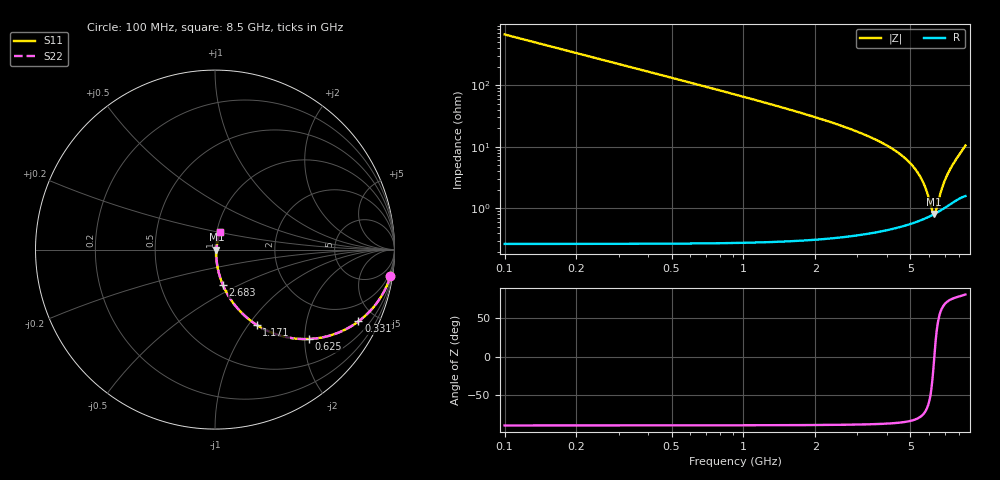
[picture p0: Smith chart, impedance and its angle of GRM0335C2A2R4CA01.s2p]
!Murata Part Number: GRM0335C2A2R4CA01
!These Parameters are Measured in Series Mode Connection
!Data Generated on Mar 30, 2021
!  o--ll--o
!Port1  Port2
!  o------o
!Operation Temp=25[degC], DC Bias Voltage=0[V]
!Freq. Start=100[MHz] Stop=9[GHz] 401[Steps]
# Hz S RI R 50
!Freq.(Hz) S11(Real) S11(Imag) S21(Real) S21(Imag) S12(Real) S12(Imag) S22(Real) S22(Imag)
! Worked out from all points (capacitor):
!   401 points, 100 MHz to 8.5 GHz, reference 50 ohm
!   read as one part in series: C = 2.4 pF near 142 MHz
!   lowest |Z| = 812 mohm at 6.295 GHz (marker M1)
!   series resonance near 6.3 GHz, so ESL is about 270 pH
!   S11 on the Smith chart (normalised r, x): 100 MHz: 1, -13; 331 MHz: 1.01, -4.00; 625 MHz: 1.01, -2.10; 1.171 GHz: 1.01, -1.10; 2.683 GHz: 1.01, -0.41; 8.5 GHz: 1.03, +0.21
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1e8  0.9777 -0.1475  0.0223 0.1475  0.0223 0.1475  0.9777 -0.1475
2.26e8  0.8955 -0.3054  0.1045 0.3054  0.1045 0.3054  0.8955 -0.3054
3.31e8  0.7994 -0.3997  0.2006 0.3997  0.2006 0.3997  0.7994 -0.3997
4.78e8  0.6555 -0.4742  0.3445 0.4742  0.3445 0.4742  0.6555 -0.4742
6.25e8  0.5251 -0.4981  0.4749 0.4981  0.4749 0.4981  0.5251 -0.4981
8.77e8  0.3563 -0.4771  0.6437 0.4771  0.6437 0.4771  0.3563 -0.4771
1.171e9  0.2327 -0.42  0.7673 0.42  0.7673 0.42  0.2327 -0.42
1.507e9  0.1502 -0.3538  0.8498 0.3538  0.8498 0.3538  0.1502 -0.3538
2.683e9  0.0441 -0.197  0.9559 0.197  0.9559 0.197  0.0441 -0.197
2.914e9  0.0359 -0.1764  0.9641 0.1764  0.9641 0.1764  0.0359 -0.1764
4.3e9  0.0123 -0.0862  0.9877 0.0862  0.9877 0.0862  0.0123 -0.0862
5.14e9  0.00798 -0.0469  0.992 0.0469  0.992 0.0469  0.00798 -0.0469
5.455e9  0.0074 -0.0336  0.9926 0.0336  0.9926 0.0336  0.0074 -0.0336
5.707e9  0.00727 -0.0233  0.9927 0.0233  0.9927 0.0233  0.00727 -0.0233
5.917e9  0.00738 -0.015  0.9926 0.015  0.9926 0.015  0.00738 -0.015
6.19e9  0.0078 -0.00427  0.9922 0.00427  0.9922 0.00427  0.0078 -0.00427
6.295e9  0.00805 -0.000189  0.9919 0.000189  0.9919 0.000189  0.00805 -0.000189
6.4e9  0.00835 0.00388  0.9917 -0.00388  0.9917 -0.00388  0.00835 0.00388
6.778e9  0.00982 0.0185  0.9902 -0.0185  0.9902 -0.0185  0.00982 0.0185
7.114e9  0.0117 0.0317  0.9883 -0.0317  0.9883 -0.0317  0.0117 0.0317
7.639e9  0.0157 0.0535  0.9843 -0.0535  0.9843 -0.0535  0.0157 0.0535
8.5e9  0.0258 0.0995  0.9742 -0.0995  0.9742 -0.0995  0.0258 0.0995
